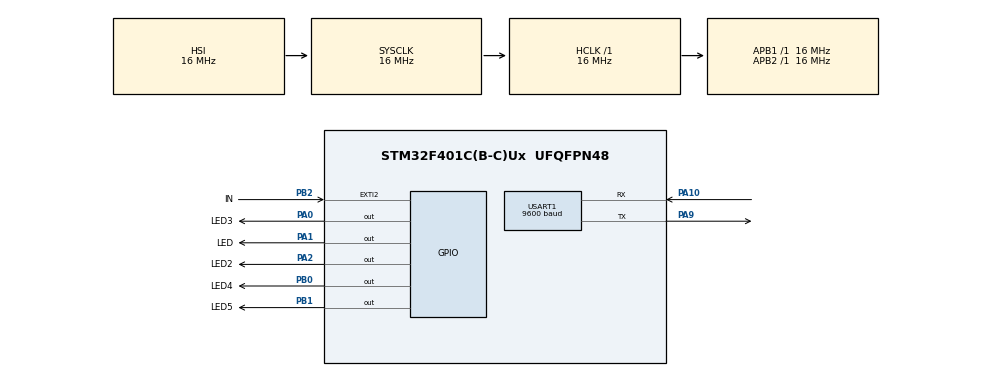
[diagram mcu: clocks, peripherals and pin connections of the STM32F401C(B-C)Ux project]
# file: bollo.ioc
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Dma.Request0=USART1_RX
Dma.USART1_RX.0.Direction=DMA_PERIPH_TO_MEMORY
Dma.USART1_RX.0.FIFOMode=DMA_FIFOMODE_DISABLE
Dma.USART1_RX.0.Instance=DMA2_Stream2
Dma.USART1_RX.0.MemDataAlignment=DMA_MDATAALIGN_BYTE
Dma.USART1_RX.0.MemInc=DMA_MINC_ENABLE
Dma.USART1_RX.0.Mode=DMA_NORMAL
Dma.USART1_RX.0.PeriphDataAlignment=DMA_PDATAALIGN_BYTE
Dma.USART1_RX.0.PeriphInc=DMA_PINC_DISABLE
Dma.USART1_RX.0.Priority=DMA_PRIORITY_LOW
Mcu.Family=STM32F4
Mcu.Name=STM32F401C(B-C)Ux
Mcu.Package=UFQFPN48
NVIC.DMA2_Stream2_IRQn=true\:0\:0\:false\:false\:true\:false\:true\:true
NVIC.EXTI2_IRQn=true\:0\:0\:false\:false\:true\:true\:true\:true
NVIC.PriorityGroup=NVIC_PRIORITYGROUP_2
NVIC.TIM1_UP_TIM10_IRQn=true\:3\:0\:true\:false\:true\:true\:true\:true
NVIC.USART1_IRQn=true\:0\:0\:false\:false\:true\:true\:true\:true
PA0-WKUP.GPIO_Label=LED3
PA0-WKUP.Signal=GPIO_Output
PA1.GPIO_Label=LED
PA1.Signal=GPIO_Output
PA10.Mode=Asynchronous
PA10.Signal=USART1_RX
PA2.GPIO_Label=LED2
PA2.Signal=GPIO_Output
PA9.Mode=Asynchronous
PA9.Signal=USART1_TX
PB0.GPIO_Label=LED4
PB0.Signal=GPIO_Output
PB1.GPIO_Label=LED5
PB1.Signal=GPIO_Output
PB2.GPIO_Label=IN
PB2.GPIO_ModeDefaultEXTI=GPIO_MODE_IT_FALLING
PB2.GPIO_PuPd=GPIO_PULLUP
PB2.Signal=GPXTI2
ProjectManager.HeapSize=0x200
ProjectManager.StackSize=0x400
ProjectManager.TargetToolchain=CMake
RCC.AHBFreq_Value=16000000
RCC.APB1Freq_Value=16000000
RCC.APB2Freq_Value=16000000
RCC.CortexFreq_Value=16000000
RCC.HSE_VALUE=25000000
RCC.HSI_VALUE=16000000
RCC.LSE_VALUE=32768
RCC.SYSCLKFreq_VALUE=16000000
RCC.VCOOutputFreq_Value=192000000
TIM1.AutoReloadPreload=TIM_AUTORELOAD_PRELOAD_ENABLE
TIM1.Period=100-1
TIM1.Prescaler=16000-1
USART1.BaudRate=9600
USART1.VirtualMode=VM_ASYNC
VP_TIM1_VS_ClockSourceINT.Mode=Internal
board=custom

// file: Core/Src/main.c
/* USER CODE BEGIN Header */
/**
  ******************************************************************************
  * @file           : main.c
  * @brief          : Main program body
  ******************************************************************************
  * @attention
  *
  * Copyright (c) 2026 STMicroelectronics.
  * All rights reserved.
  *
  * This software is licensed under terms that can be found in the LICENSE file
  * in the root directory of this software component.
  * If no LICENSE file comes with this software, it is provided AS-IS.
  *
  ******************************************************************************
  */
/* USER CODE END Header */
#include "main.h"

/* USER CODE BEGIN Includes */
#include "stdint.h"
#include "stdio.h"
#include "string.h"
#include "stdlib.h"
#include "UARTRX.h"
#include "uart.h"
/* USER CODE END Includes */

TIM_HandleTypeDef htim1;

UART_HandleTypeDef huart1;
DMA_HandleTypeDef hdma_usart1_rx;

void SystemClock_Config(void);
static void MX_GPIO_Init(void);
static void MX_DMA_Init(void);
static void MX_TIM1_Init(void);
static void MX_USART1_UART_Init(void);

/* USER CODE BEGIN 0 */
void procesa_rx()
{
	if (strstr((char*)UARTRX1.trama_rx,"LED5=on*")) HAL_GPIO_WritePin(LED5_GPIO_Port, LED5_Pin, GPIO_PIN_SET);
	else if (strstr((char*)UARTRX1.trama_rx,"LED5=off*")) HAL_GPIO_WritePin(LED5_GPIO_Port, LED5_Pin, GPIO_PIN_RESET);
}
/* USER CODE END 0 */

int main(void)
{

  /* MCU Configuration--------------------------------------------------------*/

  /* Reset of all peripherals, Initializes the Flash interface and the Systick. */
  HAL_Init();

  /* Configure the system clock */
  SystemClock_Config();

  /* Initialize all configured peripherals */
  MX_GPIO_Init();
  MX_DMA_Init();
  MX_TIM1_Init();
  MX_USART1_UART_Init();
  /* USER CODE BEGIN 2 */
  HAL_TIM_Base_Start_IT(&htim1);
  uartRX_it_idle_dma_init( &UARTRX1);

  /* USER CODE END 2 */

  /* Infinite loop */
  /* USER CODE BEGIN WHILE */
  while (1)
  {
    HAL_GPIO_TogglePin(LED_GPIO_Port, LED_Pin);
    HAL_Delay(200);
    if (UARTRX1.flag_rx==1)
	  {
	      //uartx_write_text(&huart1, UARTRX1.trama_rx);
	      procesa_rx(); //procedimeinto donde se procesan los datos
		  uartRX_DMA_Re_init(&UARTRX1);
	  }
    /* USER CODE END WHILE */

  }
}

void SystemClock_Config(void)
{
  RCC_OscInitTypeDef RCC_OscInitStruct = {0};
  RCC_ClkInitTypeDef RCC_ClkInitStruct = {0};

  /** Configure the main internal regulator output voltage
  */
  __HAL_RCC_PWR_CLK_ENABLE();
  __HAL_PWR_VOLTAGESCALING_CONFIG(PWR_REGULATOR_VOLTAGE_SCALE2);

  /** Initializes the RCC Oscillators according to the specified parameters
  * in the RCC_OscInitTypeDef structure.
  */
  RCC_OscInitStruct.OscillatorType = RCC_OSCILLATORTYPE_HSI;
  RCC_OscInitStruct.HSIState = RCC_HSI_ON;
  RCC_OscInitStruct.HSICalibrationValue = RCC_HSICALIBRATION_DEFAULT;
  RCC_OscInitStruct.PLL.PLLState = RCC_PLL_NONE;
  if (HAL_RCC_OscConfig(&RCC_OscInitStruct) != HAL_OK)
  {
    Error_Handler();
  }

  /** Initializes the CPU, AHB and APB buses clocks
  */
  RCC_ClkInitStruct.ClockType = RCC_CLOCKTYPE_HCLK|RCC_CLOCKTYPE_SYSCLK
                              |RCC_CLOCKTYPE_PCLK1|RCC_CLOCKTYPE_PCLK2;
  RCC_ClkInitStruct.SYSCLKSource = RCC_SYSCLKSOURCE_HSI;
  RCC_ClkInitStruct.AHBCLKDivider = RCC_SYSCLK_DIV1;
  RCC_ClkInitStruct.APB1CLKDivider = RCC_HCLK_DIV1;
  RCC_ClkInitStruct.APB2CLKDivider = RCC_HCLK_DIV1;

  if (HAL_RCC_ClockConfig(&RCC_ClkInitStruct, FLASH_LATENCY_0) != HAL_OK)
  {
    Error_Handler();
  }
}

static void MX_TIM1_Init(void)
{

  TIM_ClockConfigTypeDef sClockSourceConfig = {0};
  TIM_MasterConfigTypeDef sMasterConfig = {0};

  htim1.Instance = TIM1;
  htim1.Init.Prescaler = 16000-1;
  htim1.Init.CounterMode = TIM_COUNTERMODE_UP;
  htim1.Init.Period = 100-1;
  htim1.Init.ClockDivision = TIM_CLOCKDIVISION_DIV1;
  htim1.Init.RepetitionCounter = 0;
  htim1.Init.AutoReloadPreload = TIM_AUTORELOAD_PRELOAD_ENABLE;
  if (HAL_TIM_Base_Init(&htim1) != HAL_OK)
  {
    Error_Handler();
  }
  sClockSourceConfig.ClockSource = TIM_CLOCKSOURCE_INTERNAL;
  if (HAL_TIM_ConfigClockSource(&htim1, &sClockSourceConfig) != HAL_OK)
  {
    Error_Handler();
  }
  sMasterConfig.MasterOutputTrigger = TIM_TRGO_RESET;
  sMasterConfig.MasterSlaveMode = TIM_MASTERSLAVEMODE_DISABLE;
  if (HAL_TIMEx_MasterConfigSynchronization(&htim1, &sMasterConfig) != HAL_OK)
  {
    Error_Handler();
  }

}

static void MX_USART1_UART_Init(void)
{

  huart1.Instance = USART1;
  huart1.Init.BaudRate = 9600;
  huart1.Init.WordLength = UART_WORDLENGTH_8B;
  huart1.Init.StopBits = UART_STOPBITS_1;
  huart1.Init.Parity = UART_PARITY_NONE;
  huart1.Init.Mode = UART_MODE_TX_RX;
  huart1.Init.HwFlowCtl = UART_HWCONTROL_NONE;
  huart1.Init.OverSampling = UART_OVERSAMPLING_16;
  if (HAL_UART_Init(&huart1) != HAL_OK)
  {
    Error_Handler();
  }

}

static void MX_DMA_Init(void)
{

  /* DMA controller clock enable */
  __HAL_RCC_DMA2_CLK_ENABLE();

  /* DMA interrupt init */
  /* DMA2_Stream2_IRQn interrupt configuration */
  HAL_NVIC_SetPriority(DMA2_Stream2_IRQn, 0, 0);
  HAL_NVIC_EnableIRQ(DMA2_Stream2_IRQn);

}

static void MX_GPIO_Init(void)
{
  GPIO_InitTypeDef GPIO_InitStruct = {0};

  /* GPIO Ports Clock Enable */
  __HAL_RCC_GPIOA_CLK_ENABLE();
  __HAL_RCC_GPIOB_CLK_ENABLE();

  /*Configure GPIO pin Output Level */
  HAL_GPIO_WritePin(GPIOA, LED3_Pin|LED_Pin|LED2_Pin, GPIO_PIN_RESET);

  /*Configure GPIO pin Output Level */
  HAL_GPIO_WritePin(GPIOB, LED4_Pin|LED5_Pin, GPIO_PIN_RESET);

  /*Configure GPIO pins : LED3_Pin LED_Pin LED2_Pin */
  GPIO_InitStruct.Pin = LED3_Pin|LED_Pin|LED2_Pin;
  GPIO_InitStruct.Mode = GPIO_MODE_OUTPUT_PP;
  GPIO_InitStruct.Pull = GPIO_NOPULL;
  GPIO_InitStruct.Speed = GPIO_SPEED_FREQ_LOW;
  HAL_GPIO_Init(GPIOA, &GPIO_InitStruct);

  /*Configure GPIO pins : LED4_Pin LED5_Pin */
  GPIO_InitStruct.Pin = LED4_Pin|LED5_Pin;
  GPIO_InitStruct.Mode = GPIO_MODE_OUTPUT_PP;
  GPIO_InitStruct.Pull = GPIO_NOPULL;
  GPIO_InitStruct.Speed = GPIO_SPEED_FREQ_LOW;
  HAL_GPIO_Init(GPIOB, &GPIO_InitStruct);

  /*Configure GPIO pin : IN_Pin */
  GPIO_InitStruct.Pin = IN_Pin;
  GPIO_InitStruct.Mode = GPIO_MODE_IT_FALLING;
  GPIO_InitStruct.Pull = GPIO_PULLUP;
  HAL_GPIO_Init(IN_GPIO_Port, &GPIO_InitStruct);

  /* EXTI interrupt init*/
  HAL_NVIC_SetPriority(EXTI2_IRQn, 0, 0);
  HAL_NVIC_EnableIRQ(EXTI2_IRQn);

}

void Error_Handler(void)
{
  __disable_irq();
  while (1)
  {
  }
}
